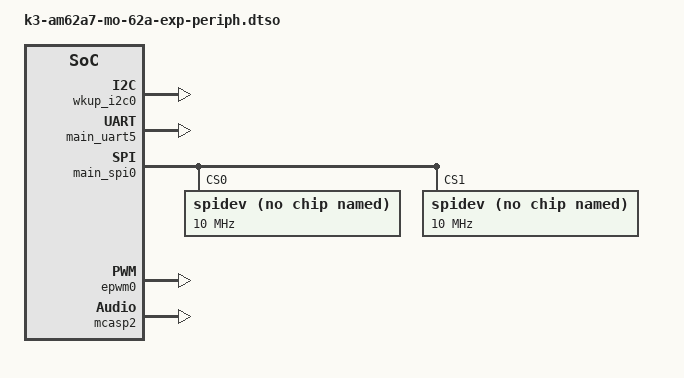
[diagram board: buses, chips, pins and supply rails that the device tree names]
// SPDX-License-Identifier: GPL-2.0
/*
 * DT Overlay for MO-62A 40-pin expansion header — peripheral function mode
 *
 * Enables special functions for 40-pin header pins:
 *   Pins  3, 5: WKUP_I2C0 SDA/SCL  (MCU_GPIO0_20/19)
 *   Pins  8,10: UART5 TXD/RXD       (GPIO1_25/24)
 *   Pins 19,21,23,24,26: SPI0       (GPIO1_18/19/17/15/16)
 *   Pins 32,33: EHRPWM0_B/A         (GPIO1_14/13)
 *   Pins 12,35,38,40: MCASP2        (GPIO1_0/GPIO0_91/GPIO1_5/GPIO1_2)
 *
 * Pins NOT changed by this overlay:
 *   Pin  36: EHRPWM1_A stays GPIO — epwm1 already active for fan connector
 *   Pins 27,28: I2C2 always enabled (camera bus)
 *
 * GPIO controller pinctrl is updated to exclude pins taken by peripherals,
 * preventing probe failures in mcu_gpio0 and main_gpio1.
 *
 * Usage: add to extlinux.conf label:
 *   fdtoverlays /ti/k3-am62a7-mo-62a-exp-periph.dtbo
 */

/dts-v1/;
/plugin/;

#include "k3-pinctrl.h"
#define PIN_DRIVE_STRENGTH_NOMINAL 0

/* Reduced MCU GPIO0 pinctrl — excludes WKUP_I2C0 pins (0x004c/0x0050) */
&mcu_pmx0 {
	mcu_gpio0_exp_periph_pins: mcu-gpio0-exp-periph-pins {
		pinctrl-single,pins = <
			AM62AX_MCU_IOPAD(0x0010, PIN_INPUT|PIN_DRIVE_STRENGTH_NOMINAL, 7) /* MCU_GPIO0_4 */
			/* MCU_GPIO0_19 (0x004c) excluded — claimed by wkup_i2c0 */
			/* MCU_GPIO0_20 (0x0050) excluded — claimed by wkup_i2c0 */
		>;
	};
};

/* Reduced GPIO1 pinctrl — excludes UART5, SPI0, EHRPWM0, MCASP2 pins */
/* Also remove GPIO0_91 (0x0174) from gpio0-default-pins: SiI9022 claims that group,
 * which would block MCASP2_AFSX from using pad 0x0174. */
&main_pmx0 {
	gpio0-default-pins {
		pinctrl-single,pins = <
			AM62AX_IOPAD(0x0008, PIN_INPUT|PIN_DRIVE_STRENGTH_NOMINAL, 7) /* GPIO0_2 */
			AM62AX_IOPAD(0x002c, PIN_INPUT|PIN_DRIVE_STRENGTH_NOMINAL, 7) /* GPIO0_11 */
			AM62AX_IOPAD(0x0030, PIN_INPUT|PIN_DRIVE_STRENGTH_NOMINAL, 7) /* GPIO0_12 */
			AM62AX_IOPAD(0x0038, PIN_INPUT|PIN_DRIVE_STRENGTH_NOMINAL, 7) /* GPIO0_14 EXP Pin22 */
			AM62AX_IOPAD(0x0088, PIN_INPUT|PIN_DRIVE_STRENGTH_NOMINAL, 7) /* GPIO0_33 EXP Pin31 */
			AM62AX_IOPAD(0x0094, PIN_INPUT|PIN_DRIVE_STRENGTH_NOMINAL, 7) /* GPIO0_36 EXP Pin29 */
			AM62AX_IOPAD(0x009c, PIN_INPUT|PIN_DRIVE_STRENGTH_NOMINAL, 7) /* GPIO0_38 EXP Pin16 */
			AM62AX_IOPAD(0x00a0, PIN_INPUT|PIN_DRIVE_STRENGTH_NOMINAL, 7) /* GPIO0_39 EXP Pin7 */
			AM62AX_IOPAD(0x00a4, PIN_INPUT|PIN_DRIVE_STRENGTH_NOMINAL, 7) /* GPIO0_40 EXP Pin18 */
			AM62AX_IOPAD(0x00a8, PIN_INPUT|PIN_DRIVE_STRENGTH_NOMINAL, 7) /* GPIO0_41 EXP Pin37 */
			AM62AX_IOPAD(0x00ac, PIN_INPUT|PIN_DRIVE_STRENGTH_NOMINAL, 7) /* GPIO0_42 EXP Pin13 */
			AM62AX_IOPAD(0x0164, PIN_INPUT|PIN_DRIVE_STRENGTH_NOMINAL, 7) /* GPIO0_87 CSI0_XSHUTDOWN */
			AM62AX_IOPAD(0x0168, PIN_OUTPUT_PULLDOWN, 7)                  /* GPIO0_88 EXP_3V3_EN */
			AM62AX_IOPAD(0x016c, PIN_INPUT|PIN_DRIVE_STRENGTH_NOMINAL, 7) /* GPIO0_89 */
			AM62AX_IOPAD(0x0170, PIN_INPUT|PIN_DRIVE_STRENGTH_NOMINAL, 7) /* GPIO0_90 SiI9022_INT */
			/* GPIO0_91 (0x0174) excluded — claimed by MCASP2_AFSX in periph mode */
		>;
	};

	gpio1_exp_periph_pins: gpio1-exp-periph-pins {
		pinctrl-single,pins = <
			/* GPIO1_0  (0x0178) excluded — claimed by MCASP2_ACLKX */
			AM62AX_IOPAD(0x017c, PIN_INPUT|PIN_DRIVE_STRENGTH_NOMINAL, 7) /* GPIO1_1  AUD_RSTn */
			/* GPIO1_2  (0x0180) excluded — claimed by MCASP2_AXR1 */
			AM62AX_IOPAD(0x0188, PIN_INPUT|PIN_DRIVE_STRENGTH_NOMINAL, 7) /* GPIO1_4 */
			/* GPIO1_5  (0x018c) excluded — claimed by MCASP2_AXR0 */
			AM62AX_IOPAD(0x0190, PIN_INPUT|PIN_DRIVE_STRENGTH_NOMINAL, 7) /* GPIO1_6  ETHINTn */
			AM62AX_IOPAD(0x0194, PIN_INPUT, 7)                             /* GPIO1_7  EEP_WC */
			AM62AX_IOPAD(0x019c, PIN_INPUT|PIN_DRIVE_STRENGTH_NOMINAL, 7) /* GPIO1_9 */
			/* GPIO1_13 (0x01ac) excluded — claimed by EHRPWM0_A */
			/* GPIO1_14 (0x01b0) excluded — claimed by EHRPWM0_B */
			/* GPIO1_15 (0x01b4) excluded — claimed by SPI0_CS0 */
			/* GPIO1_16 (0x01b8) excluded — claimed by SPI0_CS1 */
			/* GPIO1_17 (0x01bc) excluded — claimed by SPI0_CLK */
			/* GPIO1_18 (0x01c0) excluded — claimed by SPI0_D0 */
			/* GPIO1_19 (0x01c4) excluded — claimed by SPI0_D1 */
			AM62AX_IOPAD(0x01d0, PIN_INPUT|PIN_DRIVE_STRENGTH_NOMINAL, 7) /* GPIO1_22 EXP Pin15 */
			AM62AX_IOPAD(0x01d4, PIN_INPUT|PIN_DRIVE_STRENGTH_NOMINAL, 7) /* GPIO1_23 EXP Pin11 */
			/* GPIO1_24 (0x01d8) excluded — claimed by UART5_RXD */
			/* GPIO1_25 (0x01dc) excluded — claimed by UART5_TXD */
			AM62AX_IOPAD(0x01f4, PIN_INPUT|PIN_DRIVE_STRENGTH_NOMINAL, 7) /* GPIO1_31 EXTINTn */
		>;
	};
};

/* Switch GPIO controllers to use reduced pinctrl groups */
&mcu_gpio0 {
	pinctrl-names = "default";
	pinctrl-0 = <&mcu_gpio0_exp_periph_pins>;
};

&main_gpio1 {
	pinctrl-names = "default";
	pinctrl-0 = <&gpio1_exp_periph_pins>;
};

/* Pins 3,5 — WKUP_I2C0 SDA/SCL */
&wkup_i2c0 {
	status = "okay";
	pinctrl-names = "default";
	pinctrl-0 = <&wkup_i2c0_pins_default>;
};

/* Pins 8,10 — UART5 TXD/RXD */
&main_uart5 {
	status = "okay";
	pinctrl-names = "default";
	pinctrl-0 = <&main_uart5_pins_default>;
};

/* Pins 19,21,23,24,26 — SPI0 D0/D1/CLK/CS0/CS1 */
&main_spi0 {
	status = "okay";
	pinctrl-names = "default";
	pinctrl-0 = <&main_spi0_pins_default>;

	/* spidev node — CS0 (Pin 24) */
	spidev@0 {
		compatible = "rohm,dh2228fv";
		reg = <0>;
		spi-max-frequency = <10000000>;
	};

	/* spidev node — CS1 (Pin 26) */
	spidev@1 {
		compatible = "rohm,dh2228fv";
		reg = <1>;
		spi-max-frequency = <10000000>;
	};
};

/* Pins 32,33 — EHRPWM0_B/A */
&epwm0 {
	status = "okay";
	pinctrl-names = "default";
	pinctrl-0 = <&main_ehtpwm0_pins_default>;
};

/* Pins 12,35,38,40 — MCASP2 ACLKX/AFSX/AXR0/AXR1 */
&mcasp2 {
	status = "okay";
	pinctrl-names = "default";
	pinctrl-0 = <&main_mcasp2_pins_default>;
};
